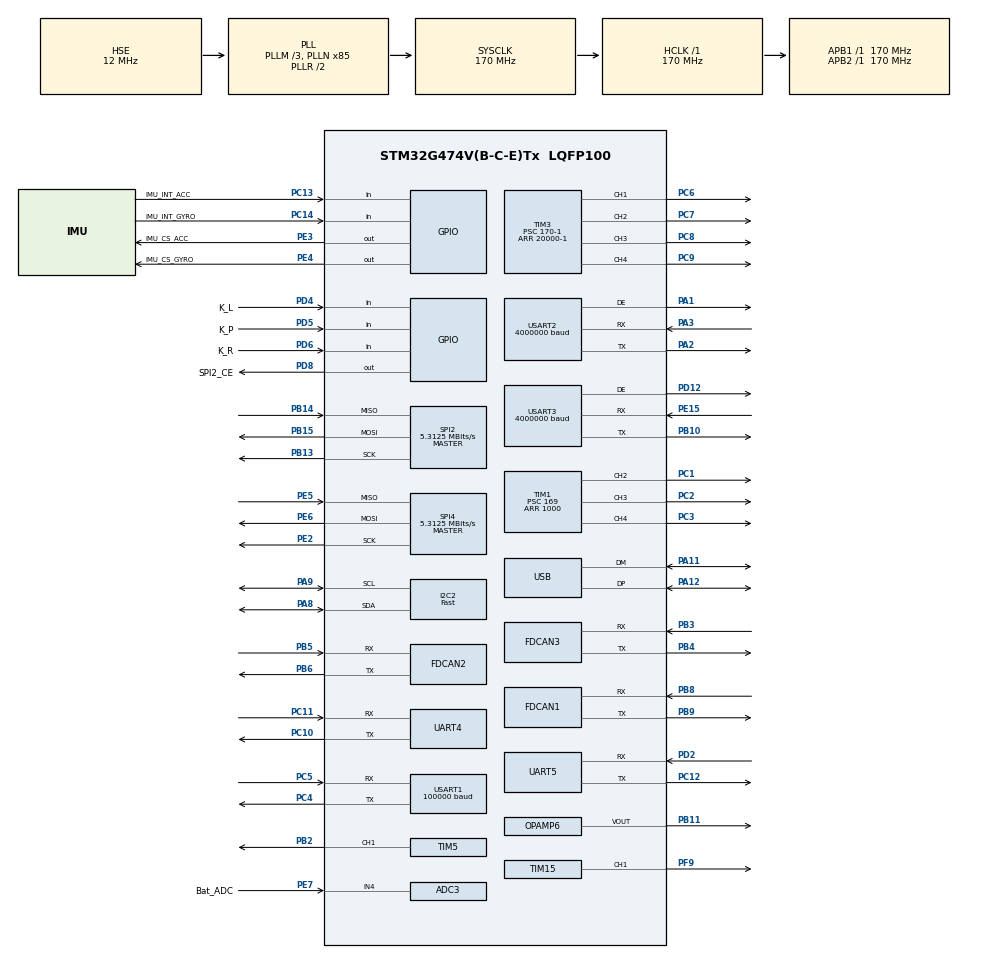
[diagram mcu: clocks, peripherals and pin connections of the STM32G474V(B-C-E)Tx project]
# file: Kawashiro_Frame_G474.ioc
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ADC3.Channel-0\#ChannelRegularConversion=ADC_CHANNEL_4
ADC3.NbrOfConversionFlag=1
ADC3.OffsetNumber-0\#ChannelRegularConversion=ADC_OFFSET_NONE
ADC3.Rank-0\#ChannelRegularConversion=1
ADC3.SamplingTime-0\#ChannelRegularConversion=ADC_SAMPLETIME_2CYCLES_5
ADC3.master=1
Dma.Request0=UART4_RX
Dma.Request1=UART5_RX
Dma.Request2=USART1_RX
Dma.Request3=USART2_RX
Dma.Request4=USART3_RX
Dma.Request5=UART4_TX
Dma.Request6=UART5_TX
Dma.Request7=USART1_TX
Dma.Request8=USART2_TX
Dma.Request9=USART3_TX
Dma.UART4_RX.0.Direction=DMA_PERIPH_TO_MEMORY
Dma.UART4_RX.0.EventEnable=DISABLE
Dma.UART4_RX.0.Instance=DMA1_Channel1
Dma.UART4_RX.0.MemDataAlignment=DMA_MDATAALIGN_BYTE
Dma.UART4_RX.0.MemInc=DMA_MINC_ENABLE
Dma.UART4_RX.0.Mode=DMA_NORMAL
Dma.UART4_RX.0.PeriphDataAlignment=DMA_PDATAALIGN_BYTE
Dma.UART4_RX.0.PeriphInc=DMA_PINC_DISABLE
Dma.UART4_RX.0.Polarity=HAL_DMAMUX_REQ_GEN_RISING
Dma.UART4_RX.0.Priority=DMA_PRIORITY_LOW
Dma.UART4_RX.0.RequestNumber=1
Dma.UART4_RX.0.SignalID=NONE
Dma.UART4_RX.0.SyncEnable=DISABLE
Dma.UART4_RX.0.SyncPolarity=HAL_DMAMUX_SYNC_NO_EVENT
Dma.UART4_RX.0.SyncRequestNumber=1
Dma.UART4_RX.0.SyncSignalID=NONE
Dma.UART4_TX.5.Direction=DMA_MEMORY_TO_PERIPH
Dma.UART4_TX.5.EventEnable=DISABLE
Dma.UART4_TX.5.Instance=DMA1_Channel6
Dma.UART4_TX.5.MemDataAlignment=DMA_MDATAALIGN_BYTE
Dma.UART4_TX.5.MemInc=DMA_MINC_ENABLE
Dma.UART4_TX.5.Mode=DMA_NORMAL
Dma.UART4_TX.5.PeriphDataAlignment=DMA_PDATAALIGN_BYTE
Dma.UART4_TX.5.PeriphInc=DMA_PINC_DISABLE
Dma.UART4_TX.5.Polarity=HAL_DMAMUX_REQ_GEN_RISING
Dma.UART4_TX.5.Priority=DMA_PRIORITY_LOW
Dma.UART4_TX.5.RequestNumber=1
Dma.UART4_TX.5.SignalID=NONE
Dma.UART4_TX.5.SyncEnable=DISABLE
Dma.UART4_TX.5.SyncPolarity=HAL_DMAMUX_SYNC_NO_EVENT
Dma.UART4_TX.5.SyncRequestNumber=1
Dma.UART4_TX.5.SyncSignalID=NONE
Dma.UART5_RX.1.Direction=DMA_PERIPH_TO_MEMORY
Dma.UART5_RX.1.EventEnable=ENABLE
Dma.UART5_RX.1.Instance=DMA1_Channel2
Dma.UART5_RX.1.MemDataAlignment=DMA_MDATAALIGN_BYTE
Dma.UART5_RX.1.MemInc=DMA_MINC_ENABLE
Dma.UART5_RX.1.Mode=DMA_NORMAL
Dma.UART5_RX.1.PeriphDataAlignment=DMA_PDATAALIGN_BYTE
Dma.UART5_RX.1.PeriphInc=DMA_PINC_DISABLE
Dma.UART5_RX.1.Polarity=HAL_DMAMUX_REQ_GEN_RISING
Dma.UART5_RX.1.Priority=DMA_PRIORITY_LOW
Dma.UART5_RX.1.RequestNumber=1
Dma.UART5_RX.1.SignalID=NONE
Dma.UART5_RX.1.SyncEnable=DISABLE
Dma.UART5_RX.1.SyncPolarity=HAL_DMAMUX_SYNC_NO_EVENT
Dma.UART5_RX.1.SyncRequestNumber=1
Dma.UART5_RX.1.SyncSignalID=NONE
Dma.UART5_TX.6.Direction=DMA_MEMORY_TO_PERIPH
Dma.UART5_TX.6.EventEnable=DISABLE
Dma.UART5_TX.6.Instance=DMA1_Channel7
Dma.UART5_TX.6.MemDataAlignment=DMA_MDATAALIGN_BYTE
Dma.UART5_TX.6.MemInc=DMA_MINC_ENABLE
Dma.UART5_TX.6.Mode=DMA_NORMAL
Dma.UART5_TX.6.PeriphDataAlignment=DMA_PDATAALIGN_BYTE
Dma.UART5_TX.6.PeriphInc=DMA_PINC_DISABLE
Dma.UART5_TX.6.Polarity=HAL_DMAMUX_REQ_GEN_RISING
Dma.UART5_TX.6.Priority=DMA_PRIORITY_LOW
Dma.UART5_TX.6.RequestNumber=1
Dma.UART5_TX.6.SignalID=NONE
Dma.UART5_TX.6.SyncEnable=DISABLE
Dma.UART5_TX.6.SyncPolarity=HAL_DMAMUX_SYNC_NO_EVENT
Dma.UART5_TX.6.SyncRequestNumber=1
Dma.UART5_TX.6.SyncSignalID=NONE
Dma.USART1_RX.2.Direction=DMA_PERIPH_TO_MEMORY
Dma.USART1_RX.2.EventEnable=DISABLE
Dma.USART1_RX.2.Instance=DMA1_Channel3
Dma.USART1_RX.2.MemDataAlignment=DMA_MDATAALIGN_BYTE
Dma.USART1_RX.2.MemInc=DMA_MINC_ENABLE
Dma.USART1_RX.2.Mode=DMA_NORMAL
Dma.USART1_RX.2.PeriphDataAlignment=DMA_PDATAALIGN_BYTE
Dma.USART1_RX.2.PeriphInc=DMA_PINC_DISABLE
Dma.USART1_RX.2.Polarity=HAL_DMAMUX_REQ_GEN_RISING
Dma.USART1_RX.2.Priority=DMA_PRIORITY_LOW
Dma.USART1_RX.2.RequestNumber=1
Dma.USART1_RX.2.SignalID=NONE
Dma.USART1_RX.2.SyncEnable=DISABLE
Dma.USART1_RX.2.SyncPolarity=HAL_DMAMUX_SYNC_NO_EVENT
Dma.USART1_RX.2.SyncRequestNumber=1
Dma.USART1_RX.2.SyncSignalID=NONE
Dma.USART1_TX.7.Direction=DMA_MEMORY_TO_PERIPH
Dma.USART1_TX.7.EventEnable=DISABLE
Dma.USART1_TX.7.Instance=DMA1_Channel8
Dma.USART1_TX.7.MemDataAlignment=DMA_MDATAALIGN_BYTE
Dma.USART1_TX.7.MemInc=DMA_MINC_ENABLE
Dma.USART1_TX.7.Mode=DMA_NORMAL
Dma.USART1_TX.7.PeriphDataAlignment=DMA_PDATAALIGN_BYTE
Dma.USART1_TX.7.PeriphInc=DMA_PINC_DISABLE
Dma.USART1_TX.7.Polarity=HAL_DMAMUX_REQ_GEN_RISING
Dma.USART1_TX.7.Priority=DMA_PRIORITY_LOW
Dma.USART1_TX.7.RequestNumber=1
Dma.USART1_TX.7.SignalID=NONE
Dma.USART1_TX.7.SyncEnable=DISABLE
Dma.USART1_TX.7.SyncPolarity=HAL_DMAMUX_SYNC_NO_EVENT
Dma.USART1_TX.7.SyncRequestNumber=1
Dma.USART1_TX.7.SyncSignalID=NONE
Dma.USART2_RX.3.Direction=DMA_PERIPH_TO_MEMORY
Dma.USART2_RX.3.EventEnable=DISABLE
Dma.USART2_RX.3.Instance=DMA1_Channel4
Dma.USART2_RX.3.MemDataAlignment=DMA_MDATAALIGN_BYTE
Dma.USART2_RX.3.MemInc=DMA_MINC_ENABLE
Dma.USART2_RX.3.Mode=DMA_NORMAL
Dma.USART2_RX.3.PeriphDataAlignment=DMA_PDATAALIGN_BYTE
Dma.USART2_RX.3.PeriphInc=DMA_PINC_DISABLE
Dma.USART2_RX.3.Polarity=HAL_DMAMUX_REQ_GEN_RISING
Dma.USART2_RX.3.Priority=DMA_PRIORITY_LOW
Dma.USART2_RX.3.RequestNumber=1
Dma.USART2_RX.3.SignalID=NONE
Dma.USART2_RX.3.SyncEnable=DISABLE
Dma.USART2_RX.3.SyncPolarity=HAL_DMAMUX_SYNC_NO_EVENT
Dma.USART2_RX.3.SyncRequestNumber=1
Dma.USART2_RX.3.SyncSignalID=NONE
Dma.USART2_TX.8.Direction=DMA_MEMORY_TO_PERIPH
Dma.USART2_TX.8.EventEnable=DISABLE
Dma.USART2_TX.8.Instance=DMA2_Channel1
Dma.USART2_TX.8.MemDataAlignment=DMA_MDATAALIGN_BYTE
Dma.USART2_TX.8.MemInc=DMA_MINC_ENABLE
Dma.USART2_TX.8.Mode=DMA_NORMAL
Dma.USART2_TX.8.PeriphDataAlignment=DMA_PDATAALIGN_BYTE
Dma.USART2_TX.8.PeriphInc=DMA_PINC_DISABLE
Dma.USART2_TX.8.Polarity=HAL_DMAMUX_REQ_GEN_RISING
Dma.USART2_TX.8.Priority=DMA_PRIORITY_LOW
Dma.USART2_TX.8.RequestNumber=1
Dma.USART2_TX.8.SignalID=NONE
Dma.USART2_TX.8.SyncEnable=DISABLE
Dma.USART2_TX.8.SyncPolarity=HAL_DMAMUX_SYNC_NO_EVENT
Dma.USART2_TX.8.SyncRequestNumber=1
Dma.USART2_TX.8.SyncSignalID=NONE
Dma.USART3_RX.4.Direction=DMA_PERIPH_TO_MEMORY
Dma.USART3_RX.4.EventEnable=DISABLE
Dma.USART3_RX.4.Instance=DMA1_Channel5
Dma.USART3_RX.4.MemDataAlignment=DMA_MDATAALIGN_BYTE
Dma.USART3_RX.4.MemInc=DMA_MINC_ENABLE
Dma.USART3_RX.4.Mode=DMA_NORMAL
Dma.USART3_RX.4.PeriphDataAlignment=DMA_PDATAALIGN_BYTE
Dma.USART3_RX.4.PeriphInc=DMA_PINC_DISABLE
Dma.USART3_RX.4.Polarity=HAL_DMAMUX_REQ_GEN_RISING
Dma.USART3_RX.4.Priority=DMA_PRIORITY_LOW
Dma.USART3_RX.4.RequestNumber=1
Dma.USART3_RX.4.SignalID=NONE
Dma.USART3_RX.4.SyncEnable=DISABLE
Dma.USART3_RX.4.SyncPolarity=HAL_DMAMUX_SYNC_NO_EVENT
Dma.USART3_RX.4.SyncRequestNumber=1
Dma.USART3_RX.4.SyncSignalID=NONE
Dma.USART3_TX.9.Direction=DMA_MEMORY_TO_PERIPH
Dma.USART3_TX.9.EventEnable=DISABLE
Dma.USART3_TX.9.Instance=DMA2_Channel2
Dma.USART3_TX.9.MemDataAlignment=DMA_MDATAALIGN_BYTE
Dma.USART3_TX.9.MemInc=DMA_MINC_ENABLE
Dma.USART3_TX.9.Mode=DMA_NORMAL
Dma.USART3_TX.9.PeriphDataAlignment=DMA_PDATAALIGN_BYTE
Dma.USART3_TX.9.PeriphInc=DMA_PINC_DISABLE
Dma.USART3_TX.9.Polarity=HAL_DMAMUX_REQ_GEN_RISING
Dma.USART3_TX.9.Priority=DMA_PRIORITY_LOW
Dma.USART3_TX.9.RequestNumber=1
Dma.USART3_TX.9.SignalID=NONE
Dma.USART3_TX.9.SyncEnable=DISABLE
Dma.USART3_TX.9.SyncPolarity=HAL_DMAMUX_SYNC_NO_EVENT
Dma.USART3_TX.9.SyncRequestNumber=1
Dma.USART3_TX.9.SyncSignalID=NONE
FDCAN1.AutoRetransmission=ENABLE
FDCAN1.CalculateBaudRateNominal=999999
FDCAN1.CalculateTimeBitNominal=1000
FDCAN1.CalculateTimeQuantumNominal=29.411764705882355
FDCAN1.DataSyncJumpWidth=8
FDCAN1.NominalPrescaler=5
FDCAN1.NominalSyncJumpWidth=8
FDCAN1.NominalTimeSeg1=25
FDCAN1.NominalTimeSeg2=8
FDCAN2.AutoRetransmission=ENABLE
FDCAN2.CalculateBaudRateNominal=999999
FDCAN2.CalculateTimeBitNominal=1000
FDCAN2.CalculateTimeQuantumNominal=29.411764705882355
FDCAN2.DataSyncJumpWidth=8
FDCAN2.NominalPrescaler=5
FDCAN2.NominalSyncJumpWidth=8
FDCAN2.NominalTimeSeg1=25
FDCAN2.NominalTimeSeg2=8
FDCAN3.AutoRetransmission=ENABLE
FDCAN3.CalculateBaudRateNominal=999999
FDCAN3.CalculateTimeBitNominal=1000
FDCAN3.CalculateTimeQuantumNominal=29.411764705882355
FDCAN3.DataSyncJumpWidth=8
FDCAN3.NominalPrescaler=5
FDCAN3.NominalSyncJumpWidth=8
FDCAN3.NominalTimeSeg1=25
FDCAN3.NominalTimeSeg2=8
FREERTOS.Tasks01=defaultTask,0,128,StartDefaultTask,Default,NULL,Dynamic,NULL,NULL;Robo,-3,512,Robo_Task,Default,NULL,Dynamic,NULL,NULL;INS,-3,1024,INS_Task,Default,NULL,Dynamic,NULL,NULL;Gimbal,-3,512,Gimbal_Task,Default,NULL,Dynamic,NULL,NULL;Chassis,-3,512,Chassis_Task,Default,NULL,Dynamic,NULL,NULL;Communicate,-3,512,Communicate_Task,Default,NULL,Dynamic,NULL,NULL;Key_LED,-3,256,Key_LED_Task,Default,NULL,Dynamic,NULL,NULL;Buzzer,-3,256,Buzzer_Task,Default,NULL,Dynamic,NULL,NULL;UI,-3,256,UI_Task,Default,NULL,Dynamic,NULL,NULL;Shoot,-3,512,Shoot_Task,Default,NULL,Dynamic,NULL,NULL;Aim,-3,512,Aim_Task,Default,NULL,Dynamic,NULL,NULL
FREERTOS.configTOTAL_HEAP_SIZE=32768
I2C2.I2C_Speed_Mode=I2C_Fast
I2C2.Timing=0x40621236
Mcu.Family=STM32G4
Mcu.Name=STM32G474V(B-C-E)Tx
Mcu.Package=LQFP100
NVIC.DMA1_Channel1_IRQn=true\:4\:0\:true\:false\:true\:false\:false\:true\:true
NVIC.DMA1_Channel2_IRQn=true\:4\:0\:true\:false\:true\:false\:false\:true\:true
NVIC.DMA1_Channel3_IRQn=true\:4\:0\:true\:false\:true\:false\:false\:true\:true
NVIC.DMA1_Channel4_IRQn=true\:4\:0\:true\:false\:true\:false\:false\:true\:true
NVIC.DMA1_Channel5_IRQn=true\:4\:0\:true\:false\:true\:false\:false\:true\:true
NVIC.DMAMUX_OVR_IRQn=true\:5\:0\:false\:false\:true\:false\:false\:true\:true
NVIC.FDCAN1_IT0_IRQn=true\:5\:0\:false\:false\:true\:true\:true\:true\:true
NVIC.FDCAN1_IT1_IRQn=true\:5\:0\:false\:false\:true\:true\:true\:true\:true
NVIC.FDCAN2_IT0_IRQn=true\:5\:0\:false\:false\:true\:true\:true\:true\:true
NVIC.FDCAN2_IT1_IRQn=true\:5\:0\:false\:false\:true\:true\:true\:true\:true
NVIC.FDCAN3_IT0_IRQn=true\:5\:0\:false\:false\:true\:true\:true\:true\:true
NVIC.FDCAN3_IT1_IRQn=true\:5\:0\:false\:false\:true\:true\:true\:true\:true
NVIC.PriorityGroup=NVIC_PRIORITYGROUP_4
NVIC.TIM20_UP_IRQn=true\:15\:0\:false\:false\:true\:false\:false\:true\:true
NVIC.TimeBase=TIM20_UP_IRQn
NVIC.TimeBaseIP=TIM20
NVIC.UART4_IRQn=true\:4\:0\:true\:false\:true\:false\:true\:true\:true
NVIC.UART5_IRQn=true\:4\:0\:true\:false\:true\:false\:true\:true\:true
NVIC.USART1_IRQn=true\:4\:0\:true\:false\:true\:false\:true\:true\:true
NVIC.USART2_IRQn=true\:4\:0\:true\:false\:true\:false\:true\:true\:true
NVIC.USART3_IRQn=true\:4\:0\:true\:false\:true\:false\:true\:true\:true
NVIC.USB_LP_IRQn=true\:5\:0\:false\:false\:true\:true\:false\:true\:true
PA1.GPIO_Mode=GPIO_MODE_AF_PP
PA1.GPIO_PuPd=GPIO_PULLDOWN
PA1.GPIO_Speed=GPIO_SPEED_FREQ_HIGH
PA1.Mode=Hardware Flow Control (RS485)
PA1.Signal=USART2_DE
PA11.Mode=Device
PA11.Signal=USB_DM
PA12.Mode=Device
PA12.Signal=USB_DP
PA13.Mode=Serial_Wire
PA13.Signal=SYS_JTMS-SWDIO
PA14.Mode=Serial_Wire
PA14.Signal=SYS_JTCK-SWCLK
PA2.GPIO_Mode=GPIO_MODE_AF_PP
PA2.GPIO_PuPd=GPIO_PULLUP
PA2.GPIO_Speed=GPIO_SPEED_FREQ_HIGH
PA2.Mode=Asynchronous
PA2.Signal=USART2_TX
PA3.GPIO_Mode=GPIO_MODE_AF_PP
PA3.GPIO_PuPd=GPIO_PULLUP
PA3.GPIO_Speed=GPIO_SPEED_FREQ_HIGH
PA3.Mode=Asynchronous
PA3.Signal=USART2_RX
PA8.GPIO_Mode=GPIO_MODE_AF_OD
PA8.GPIO_Pu=GPIO_PULLUP
PA8.GPIO_Speed=GPIO_SPEED_FREQ_HIGH
PA8.Mode=I2C
PA8.Signal=I2C2_SDA
PA9.GPIO_Mode=GPIO_MODE_AF_OD
PA9.GPIO_Pu=GPIO_PULLUP
PA9.GPIO_Speed=GPIO_SPEED_FREQ_HIGH
PA9.Mode=I2C
PA9.Signal=I2C2_SCL
PB10.GPIO_Mode=GPIO_MODE_AF_PP
PB10.GPIO_PuPd=GPIO_PULLUP
PB10.GPIO_Speed=GPIO_SPEED_FREQ_HIGH
PB10.Mode=Asynchronous
PB10.Signal=USART3_TX
PB11.Mode=Follower-DAC_OUT2-INP
PB11.Signal=OPAMP6_VOUT
PB13.Mode=Full_Duplex_Master
PB13.Signal=SPI2_SCK
PB14.Mode=Full_Duplex_Master
PB14.Signal=SPI2_MISO
PB15.Mode=Full_Duplex_Master
PB15.Signal=SPI2_MOSI
PB2.Signal=S_TIM5_CH1
PB3.Mode=FDCAN_Activate
PB3.Signal=FDCAN3_RX
PB4.Mode=FDCAN_Activate
PB4.Signal=FDCAN3_TX
PB5.Mode=FDCAN_Activate
PB5.Signal=FDCAN2_RX
PB6.Mode=FDCAN_Activate
PB6.Signal=FDCAN2_TX
PB8-BOOT0.Mode=FDCAN_Activate
PB8-BOOT0.Signal=FDCAN1_RX
PB9.Mode=FDCAN_Activate
PB9.Signal=FDCAN1_TX
PC1.Signal=S_TIM1_CH2
PC10.GPIO_ModeDefaultPP=GPIO_MODE_AF_PP
PC10.GPIO_PuPd=GPIO_PULLUP
PC10.GPIO_Speed=GPIO_SPEED_FREQ_VERY_HIGH
PC10.Mode=Asynchronous
PC10.Signal=UART4_TX
PC11.GPIO_ModeDefaultPP=GPIO_MODE_AF_PP
PC11.GPIO_PuPd=GPIO_PULLUP
PC11.GPIO_Speed=GPIO_SPEED_FREQ_VERY_HIGH
PC11.Mode=Asynchronous
PC11.Signal=UART4_RX
PC12.GPIO_ModeDefaultPP=GPIO_MODE_AF_PP
PC12.GPIO_PuPd=GPIO_PULLUP
PC12.GPIO_Speed=GPIO_SPEED_FREQ_VERY_HIGH
PC12.Mode=Asynchronous
PC12.Signal=UART5_TX
PC13.GPIO_Label=IMU_INT_ACC
PC13.Signal=GPIO_Input
PC14-OSC32_IN.GPIO_Label=IMU_INT_GYRO
PC14-OSC32_IN.Signal=GPIO_Input
PC2.Signal=S_TIM1_CH3
PC3.Signal=S_TIM1_CH4
PC4.GPIO_Mode=GPIO_MODE_AF_PP
PC4.GPIO_PuPd=GPIO_PULLUP
PC4.GPIO_Speed=GPIO_SPEED_FREQ_HIGH
PC4.Mode=Asynchronous
PC4.Signal=USART1_TX
PC5.GPIO_Mode=GPIO_MODE_AF_PP
PC5.GPIO_PuPd=GPIO_PULLUP
PC5.GPIO_Speed=GPIO_SPEED_FREQ_HIGH
PC5.Mode=Asynchronous
PC5.Signal=USART1_RX
PC6.Signal=S_TIM3_CH1
PC7.Signal=S_TIM3_CH2
PC8.Signal=S_TIM3_CH3
PC9.Signal=S_TIM3_CH4
PD12.GPIO_Mode=GPIO_MODE_AF_PP
PD12.GPIO_PuPd=GPIO_PULLDOWN
PD12.GPIO_Speed=GPIO_SPEED_FREQ_HIGH
PD12.Mode=Hardware Flow Control (RS485)
PD12.Signal=USART3_DE
PD2.GPIO_ModeDefaultPP=GPIO_MODE_AF_PP
PD2.GPIO_PuPd=GPIO_PULLUP
PD2.GPIO_Speed=GPIO_SPEED_FREQ_VERY_HIGH
PD2.Mode=Asynchronous
PD2.Signal=UART5_RX
PD4.GPIO_Label=K_L
PD4.GPIO_Mode=GPIO_MODE_INPUT
PD4.GPIO_PuPd=GPIO_PULLUP
PD4.Signal=GPIO_Input
PD5.GPIO_Label=K_P
PD5.GPIO_Mode=GPIO_MODE_INPUT
PD5.GPIO_PuPd=GPIO_PULLUP
PD5.Signal=GPIO_Input
PD6.GPIO_Label=K_R
PD6.GPIO_Mode=GPIO_MODE_INPUT
PD6.GPIO_PuPd=GPIO_PULLUP
PD6.Signal=GPIO_Input
PD8.GPIO_Label=SPI2_CE
PD8.GPIO_ModeDefaultOutputPP=GPIO_MODE_OUTPUT_PP
PD8.GPIO_PuPd=GPIO_PULLUP
PD8.GPIO_Speed=GPIO_SPEED_FREQ_HIGH
PD8.PinState=GPIO_PIN_SET
PD8.Signal=GPIO_Output
PE15.GPIO_Mode=GPIO_MODE_AF_PP
PE15.GPIO_PuPd=GPIO_PULLUP
PE15.GPIO_Speed=GPIO_SPEED_FREQ_HIGH
PE15.Mode=Asynchronous
PE15.Signal=USART3_RX
PE2.GPIO_Speed=GPIO_SPEED_FREQ_VERY_HIGH
PE2.Mode=Full_Duplex_Master
PE2.Signal=SPI4_SCK
PE3.GPIO_Label=IMU_CS_ACC
PE3.GPIO_ModeDefaultOutputPP=GPIO_MODE_OUTPUT_PP
PE3.GPIO_PuPd=GPIO_PULLUP
PE3.GPIO_Speed=GPIO_SPEED_FREQ_HIGH
PE3.PinState=GPIO_PIN_SET
PE3.Signal=GPIO_Output
PE4.GPIO_Label=IMU_CS_GYRO
PE4.GPIO_ModeDefaultOutputPP=GPIO_MODE_OUTPUT_PP
PE4.GPIO_PuPd=GPIO_PULLUP
PE4.GPIO_Speed=GPIO_SPEED_FREQ_HIGH
PE4.PinState=GPIO_PIN_SET
PE4.Signal=GPIO_Output
PE5.GPIO_Speed=GPIO_SPEED_FREQ_VERY_HIGH
PE5.Mode=Full_Duplex_Master
PE5.Signal=SPI4_MISO
PE6.GPIO_Speed=GPIO_SPEED_FREQ_VERY_HIGH
PE6.Mode=Full_Duplex_Master
PE6.Signal=SPI4_MOSI
PE7.GPIO_Label=Bat_ADC
PE7.Mode=IN4-Single-Ended
PE7.Signal=ADC3_IN4
PF0-OSC_IN.Mode=HSE-External-Oscillator
PF0-OSC_IN.Signal=RCC_OSC_IN
PF1-OSC_OUT.Mode=HSE-External-Oscillator
PF1-OSC_OUT.Signal=RCC_OSC_OUT
PF9.Signal=S_TIM15_CH1
ProjectManager.HeapSize=0x2000
ProjectManager.StackSize=0x4000
ProjectManager.TargetToolchain=MDK-ARM V5.32
RCC.ADC12Freq_Value=170000000
RCC.ADC345Freq_Value=170000000
RCC.AHBFreq_Value=170000000
RCC.APB1Freq_Value=170000000
RCC.APB1TimFreq_Value=170000000
RCC.APB2Freq_Value=170000000
RCC.APB2TimFreq_Value=170000000
RCC.CK48CLockSelection=RCC_USBCLKSOURCE_HSI48
RCC.CortexFreq_Value=170000000
RCC.EXTERNAL_CLOCK_VALUE=12288000
RCC.HCLKFreq_Value=170000000
RCC.HSE_VALUE=12000000
RCC.HSI48_VALUE=48000000
RCC.HSI_VALUE=16000000
RCC.LSE_VALUE=32768
RCC.PLLM=RCC_PLLM_DIV3
RCC.PLLN=85
RCC.PLLQ=RCC_PLLQ_DIV8
RCC.PLLSourceVirtual=RCC_PLLSOURCE_HSE
RCC.SYSCLKFreq_VALUE=170000000
RCC.SYSCLKSource=RCC_SYSCLKSOURCE_PLLCLK
RCC.USBFreq_Value=48000000
RCC.VCOOutputFreq_Value=340000000
SH.S_TIM15_CH1.0=TIM15_CH1,PWM Generation1 CH1
SH.S_TIM1_CH2.0=TIM1_CH2,PWM Generation2 CH2
SH.S_TIM1_CH3.0=TIM1_CH3,PWM Generation3 CH3
SH.S_TIM1_CH4.0=TIM1_CH4,PWM Generation4 CH4
SH.S_TIM3_CH1.0=TIM3_CH1,PWM Generation1 CH1
SH.S_TIM3_CH2.0=TIM3_CH2,PWM Generation2 CH2
SH.S_TIM3_CH3.0=TIM3_CH3,PWM Generation3 CH3
SH.S_TIM3_CH4.0=TIM3_CH4,PWM Generation4 CH4
SH.S_TIM5_CH1.0=TIM5_CH1,PWM Generation1 CH1
SPI2.BaudRatePrescaler=SPI_BAUDRATEPRESCALER_32
SPI2.CalculateBaudRate=5.3125 MBits/s
SPI2.DataSize=SPI_DATASIZE_8BIT
SPI2.Direction=SPI_DIRECTION_2LINES
SPI2.Mode=SPI_MODE_MASTER
SPI2.VirtualType=VM_MASTER
SPI4.BaudRatePrescaler=SPI_BAUDRATEPRESCALER_32
SPI4.CLKPhase=SPI_PHASE_2EDGE
SPI4.CLKPolarity=SPI_POLARITY_HIGH
SPI4.CalculateBaudRate=5.3125 MBits/s
SPI4.DataSize=SPI_DATASIZE_8BIT
SPI4.Direction=SPI_DIRECTION_2LINES
SPI4.Mode=SPI_MODE_MASTER
SPI4.VirtualType=VM_MASTER
TIM1.Channel-PWM\ Generation2\ CH2=TIM_CHANNEL_2
TIM1.Channel-PWM\ Generation3\ CH3=TIM_CHANNEL_3
TIM1.Channel-PWM\ Generation4\ CH4=TIM_CHANNEL_4
TIM1.OCPolarity_2=TIM_OCPOLARITY_LOW
TIM1.OCPolarity_3=TIM_OCPOLARITY_LOW
TIM1.OCPolarity_4=TIM_OCPOLARITY_LOW
TIM1.PeriodNoDither=1000
TIM1.Prescaler=169
TIM15.Channel-PWM\ Generation1\ CH1=TIM_CHANNEL_1
TIM15.PeriodNoDither=20000-1
TIM15.Prescaler=170-1
TIM3.Channel-PWM\ Generation1\ CH1=TIM_CHANNEL_1
TIM3.Channel-PWM\ Generation2\ CH2=TIM_CHANNEL_2
TIM3.Channel-PWM\ Generation3\ CH3=TIM_CHANNEL_3
TIM3.Channel-PWM\ Generation4\ CH4=TIM_CHANNEL_4
TIM3.PeriodNoDither=20000-1
TIM3.Prescaler=170-1
TIM5.AutoReloadPreload=TIM_AUTORELOAD_PRELOAD_ENABLE
TIM5.Channel-PWM\ Generation1\ CH1=TIM_CHANNEL_1
TIM5.OC1Preload_PWM=DISABLE
TIM5.OCFastMode_PWM-PWM\ Generation1\ CH1=TIM_OCFAST_ENABLE
TIM5.PeriodNoDither=1000-1
TIM5.Prescaler=170-1
USART1.BaudRate=100000
USART1.Parity=PARITY_EVEN
USART1.VirtualMode-Asynchronous=VM_ASYNC
USART1.WordLength=WORDLENGTH_9B
USART2.BaudRate=4000000
USART2.VirtualMode-Asynchronous=VM_ASYNC
USART2.VirtualMode-Hardware\ Flow\ Control\ (RS485)=VM_ASYNC
USART3.BaudRate=4000000
USART3.VirtualMode-Asynchronous=VM_ASYNC
USART3.VirtualMode-Hardware\ Flow\ Control\ (RS485)=VM_ASYNC
USB_DEVICE.CLASS_NAME_FS=CDC
USB_DEVICE.VirtualMode=Cdc
USB_DEVICE.VirtualModeFS=Cdc_FS
VP_CRC_VS_CRC.Mode=CRC_Activate
VP_DAC3_VS_DACI1.Mode=DAC_OUT1_Int
VP_FREERTOS_VS_CMSIS_V1.Mode=CMSIS_V1
VP_SYS_VS_DBSignals.Mode=DisableDeadBatterySignals
VP_SYS_VS_tim20.Mode=TIM20
VP_TIM15_VS_ClockSourceINT.Mode=Internal
VP_TIM1_VS_ClockSourceINT.Mode=Internal
VP_TIM3_VS_ClockSourceINT.Mode=Internal
VP_TIM5_VS_ClockSourceINT.Mode=Internal
VP_USB_DEVICE_VS_USB_DEVICE_CDC_FS.Mode=CDC_FS
board=custom

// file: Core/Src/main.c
/* USER CODE BEGIN Header */
/**
  ******************************************************************************
  * @file           : main.c
  * @brief          : Main program body
  ******************************************************************************
  * @attention
  *
  * Copyright (c) 2024 STMicroelectronics.
  * All rights reserved.
  *
  * This software is licensed under terms that can be found in the LICENSE file
  * in the root directory of this software component.
  * If no LICENSE file comes with this software, it is provided AS-IS.
  *
  ******************************************************************************
  */
/* USER CODE END Header */
#include "main.h"
#include "cmsis_os.h"
#include "adc.h"
#include "crc.h"
#include "dac.h"
#include "dma.h"
#include "fdcan.h"
#include "i2c.h"
#include "opamp.h"
#include "spi.h"
#include "tim.h"
#include "usart.h"
#include "usb_device.h"
#include "gpio.h"

/* USER CODE BEGIN Includes */
#include "bmi088driver.h"
#include "CAN_Driver.h"
#include "USART_Driver.h"
#include "Buzzer.h"
#include "USB_Driver.h"
/* USER CODE END Includes */

void SystemClock_Config(void);
void MX_FREERTOS_Init(void);

int main(void)
{

  /* MCU Configuration--------------------------------------------------------*/

  /* Reset of all peripherals, Initializes the Flash interface and the Systick. */
  HAL_Init();

  /* Configure the system clock */
  SystemClock_Config();

  /* Initialize all configured peripherals */
  MX_GPIO_Init();
  MX_DMA_Init();
  MX_FDCAN1_Init();
  MX_FDCAN2_Init();
  MX_FDCAN3_Init();
  MX_UART4_Init();
  MX_UART5_Init();
  MX_USART1_UART_Init();
  MX_USART2_UART_Init();
  MX_USART3_UART_Init();
  MX_ADC3_Init();
  MX_DAC3_Init();
  MX_I2C2_Init();
  MX_OPAMP6_Init();
  MX_SPI2_Init();
  MX_SPI4_Init();
  MX_TIM1_Init();
  MX_TIM3_Init();
  MX_TIM5_Init();
  MX_TIM15_Init();
  MX_CRC_Init();
  /* USER CODE BEGIN 2 */
    /*===| 蜂鸣器 |===*/
        Buzzer_Init();
//        Buzzer_Set_Tone(L3);

        /*===| 初始化DWT |===*/
        DWT_Init(170);

        /*===| 等待陀螺仪校准 |===*/
        while (BMI088_init(IMU_SPI, 0) != BMI088_NO_ERROR);

        /*===| 通信初始化 |===*/
        CAN_Init();                                             //CAN初始化
        USART_Init();                                           //串口初始化

        /*===| 系统初始化完成提示音 |===*/
        Buzzer_Set_SoundEffect(Buzzer_SoundEffect_SystemStart);
  /* USER CODE END 2 */

  /* Call init function for freertos objects (in cmsis_os2.c) */
  MX_FREERTOS_Init();

  /* Start scheduler */
  osKernelStart();

  /* We should never get here as control is now taken by the scheduler */

  /* Infinite loop */
  while (1)
  {

  }
}

void SystemClock_Config(void)
{
  RCC_OscInitTypeDef RCC_OscInitStruct = {0};
  RCC_ClkInitTypeDef RCC_ClkInitStruct = {0};

  /** Configure the main internal regulator output voltage
  */
  HAL_PWREx_ControlVoltageScaling(PWR_REGULATOR_VOLTAGE_SCALE1_BOOST);

  /** Initializes the RCC Oscillators according to the specified parameters
  * in the RCC_OscInitTypeDef structure.
  */
  RCC_OscInitStruct.OscillatorType = RCC_OSCILLATORTYPE_HSI48|RCC_OSCILLATORTYPE_HSE;
  RCC_OscInitStruct.HSEState = RCC_HSE_ON;
  RCC_OscInitStruct.HSI48State = RCC_HSI48_ON;
  RCC_OscInitStruct.PLL.PLLState = RCC_PLL_ON;
  RCC_OscInitStruct.PLL.PLLSource = RCC_PLLSOURCE_HSE;
  RCC_OscInitStruct.PLL.PLLM = RCC_PLLM_DIV3;
  RCC_OscInitStruct.PLL.PLLN = 85;
  RCC_OscInitStruct.PLL.PLLP = RCC_PLLP_DIV2;
  RCC_OscInitStruct.PLL.PLLQ = RCC_PLLQ_DIV8;
  RCC_OscInitStruct.PLL.PLLR = RCC_PLLR_DIV2;
  if (HAL_RCC_OscConfig(&RCC_OscInitStruct) != HAL_OK)
  {
    Error_Handler();
  }

  /** Initializes the CPU, AHB and APB buses clocks
  */
  RCC_ClkInitStruct.ClockType = RCC_CLOCKTYPE_HCLK|RCC_CLOCKTYPE_SYSCLK
                              |RCC_CLOCKTYPE_PCLK1|RCC_CLOCKTYPE_PCLK2;
  RCC_ClkInitStruct.SYSCLKSource = RCC_SYSCLKSOURCE_PLLCLK;
  RCC_ClkInitStruct.AHBCLKDivider = RCC_SYSCLK_DIV1;
  RCC_ClkInitStruct.APB1CLKDivider = RCC_HCLK_DIV1;
  RCC_ClkInitStruct.APB2CLKDivider = RCC_HCLK_DIV1;

  if (HAL_RCC_ClockConfig(&RCC_ClkInitStruct, FLASH_LATENCY_4) != HAL_OK)
  {
    Error_Handler();
  }
}

void HAL_TIM_PeriodElapsedCallback(TIM_HandleTypeDef *htim)
{
  if (htim->Instance == TIM20)
  {
    HAL_IncTick();
  }
}

void Error_Handler(void)
{
  __disable_irq();
  while (1)
  {
  }
}

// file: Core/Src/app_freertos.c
/* USER CODE BEGIN Header */
/**
  ******************************************************************************
  * File Name          : app_freertos.c
  * Description        : Code for freertos applications
  ******************************************************************************
  * @attention
  *
  * Copyright (c) 2024 STMicroelectronics.
  * All rights reserved.
  *
  * This software is licensed under terms that can be found in the LICENSE file
  * in the root directory of this software component.
  * If no LICENSE file comes with this software, it is provided AS-IS.
  *
  ******************************************************************************
  */
/* USER CODE END Header */

#include "FreeRTOS.h"
#include "task.h"
#include "main.h"
#include "cmsis_os.h"

osThreadId defaultTaskHandle;
osThreadId RoboHandle;
osThreadId INSHandle;
osThreadId GimbalHandle;
osThreadId ChassisHandle;
osThreadId CommunicateHandle;
osThreadId Key_LEDHandle;
osThreadId BuzzerHandle;
osThreadId UIHandle;
osThreadId ShootHandle;
osThreadId AimHandle;

void StartDefaultTask(void const * argument);
void Robo_Task(void const * argument);
void INS_Task(void const * argument);
void Gimbal_Task(void const * argument);
void Chassis_Task(void const * argument);
void Communicate_Task(void const * argument);
void Key_LED_Task(void const * argument);
void Buzzer_Task(void const * argument);
void UI_Task(void const * argument);
void Shoot_Task(void const * argument);
void Aim_Task(void const * argument);

void MX_FREERTOS_Init(void); /* (MISRA C 2004 rule 8.1) */

void MX_FREERTOS_Init(void) {

  /* Create the thread(s) */
  /* definition and creation of defaultTask */
  osThreadDef(defaultTask, StartDefaultTask, osPriorityNormal, 0, 128);
  defaultTaskHandle = osThreadCreate(osThread(defaultTask), NULL);

  /* definition and creation of Robo */
  osThreadDef(Robo, Robo_Task, osPriorityRealtime, 0, 512);
  RoboHandle = osThreadCreate(osThread(Robo), NULL);

  /* definition and creation of INS */
  osThreadDef(INS, INS_Task, osPriorityLow, 0, 1024);
  INSHandle = osThreadCreate(osThread(INS), NULL);

  /* definition and creation of Gimbal */
  osThreadDef(Gimbal, Gimbal_Task, osPriorityIdle, 0, 512);
  GimbalHandle = osThreadCreate(osThread(Gimbal), NULL);

  /* definition and creation of Chassis */
  osThreadDef(Chassis, Chassis_Task, osPriorityHigh, 0, 2048);
  ChassisHandle = osThreadCreate(osThread(Chassis), NULL);

  /* definition and creation of Communicate */
  osThreadDef(Communicate, Communicate_Task, osPriorityBelowNormal, 0, 512);
  CommunicateHandle = osThreadCreate(osThread(Communicate), NULL);

  /* definition and creation of Key_LED */
  osThreadDef(Key_LED, Key_LED_Task, osPriorityIdle, 0, 256);
  Key_LEDHandle = osThreadCreate(osThread(Key_LED), NULL);

  /* definition and creation of Buzzer */
  osThreadDef(Buzzer, Buzzer_Task, osPriorityIdle, 0, 256);
  BuzzerHandle = osThreadCreate(osThread(Buzzer), NULL);

  /* definition and creation of UI */
  osThreadDef(UI, UI_Task, osPriorityIdle, 0, 512);
  UIHandle = osThreadCreate(osThread(UI), NULL);

  /* definition and creation of Shoot */
//  osThreadDef(Shoot, Shoot_Task, osPriorityIdle, 0, 512);
//  ShootHandle = osThreadCreate(osThread(Shoot), NULL);

  /* definition and creation of Aim */
//  osThreadDef(Aim, Aim_Task, osPriorityIdle, 0, 512);
//  AimHandle = osThreadCreate(osThread(Aim), NULL);

}

/* USER CODE BEGIN Header_StartDefaultTask */
#include "Motor_Driver.h"
/**
  * @brief  Function implementing the defaultTask thread.
  * @param  argument: Not used
  * @retval None
  */
/* USER CODE END Header_StartDefaultTask */
void StartDefaultTask(void const * argument)
{
  /* init code for USB_Device */
  MX_USB_Device_Init();
  /* USER CODE BEGIN StartDefaultTask */
  /* Infinite loop */
  for(;;)
  {
      Get_TotalAngle_Speed(&Motor_Data_Struct[Gimbal_Pitch_ID]);
      Get_TotalAngle_Speed(&Motor_Data_Struct[Gimbal_Yaw_ID]);
    osDelay(10);
  }
  /* USER CODE END StartDefaultTask */
}

/* USER CODE BEGIN Header_Robo_Task */
/**
* @brief Function implementing the Robo thread.
* @param argument: Not used
* @retval None
*/__weak
/* USER CODE END Header_Robo_Task */
void Robo_Task(void const * argument)
{
  for(;;)
  {
    osDelay(1);
  }
}

/* USER CODE BEGIN Header_INS_Task */
/**
* @brief Function implementing the INS thread.
* @param argument: Not used
* @retval None
*/__weak
/* USER CODE END Header_INS_Task */
void INS_Task(void const * argument)
{
  for(;;)
  {
    osDelay(1);
  }
}

/* USER CODE BEGIN Header_Gimbal_Task */
/**
* @brief Function implementing the Gimbal thread.
* @param argument: Not used
* @retval None
*/__weak
/* USER CODE END Header_Gimbal_Task */
void Gimbal_Task(void const * argument)
{
  for(;;)
  {
    osDelay(1);
  }
}

/* USER CODE BEGIN Header_Chassis_Task */
/**
* @brief Function implementing the Chassis thread.
* @param argument: Not used
* @retval None
*/__weak
/* USER CODE END Header_Chassis_Task */
void Chassis_Task(void const * argument)
{
  for(;;)
  {
    osDelay(1);
  }
}

/* USER CODE BEGIN Header_Communicate_Task */
/**
* @brief Function implementing the Communicate thread.
* @param argument: Not used
* @retval None
*/__weak
/* USER CODE END Header_Communicate_Task */
void Communicate_Task(void const * argument)
{
  for(;;)
  {
    osDelay(1);
  }
}

/* USER CODE BEGIN Header_Key_LED_Task */
/**
* @brief Function implementing the Key_LED thread.
* @param argument: Not used
* @retval None
*/__weak
/* USER CODE END Header_Key_LED_Task */
void Key_LED_Task(void const * argument)
{
  for(;;)
  {
    osDelay(1);
  }
}

/* USER CODE BEGIN Header_Buzzer_Task */
/**
* @brief Function implementing the Buzzer thread.
* @param argument: Not used
* @retval None
*/__weak
/* USER CODE END Header_Buzzer_Task */
void Buzzer_Task(void const * argument)
{
  for(;;)
  {
    osDelay(1);
  }
}

/* USER CODE BEGIN Header_UI_Task */
/**
* @brief Function implementing the UI thread.
* @param argument: Not used
* @retval None
*/__weak
/* USER CODE END Header_UI_Task */
void UI_Task(void const * argument)
{
  for(;;)
  {
    osDelay(1);
  }
}

/* USER CODE BEGIN Header_Shoot_Task */
/**
* @brief Function implementing the Shoot thread.
* @param argument: Not used
* @retval None
*/__weak
/* USER CODE END Header_Shoot_Task */
void Shoot_Task(void const * argument)
{
  for(;;)
  {
    osDelay(1);
  }
}

/* USER CODE BEGIN Header_Aim_Task */
/**
* @brief Function implementing the Aim thread.
* @param argument: Not used
* @retval None
*/__weak
/* USER CODE END Header_Aim_Task */
void Aim_Task(void const * argument)
{
  for(;;)
  {
    osDelay(1);
  }
}
